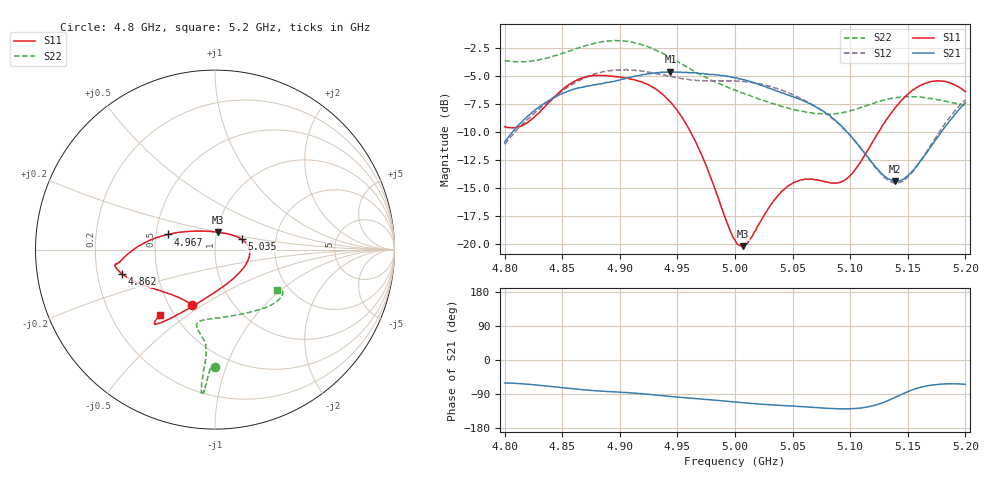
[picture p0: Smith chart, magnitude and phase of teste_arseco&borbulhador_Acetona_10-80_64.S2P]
! Network Analyzer HP8722D
! Hewlett-Packard
! Data name: Linha & Wilkinson
! Saver's name: Rodrigo Anjos
! Comments: Teste da utilização de aquisição
! continua pelo VNA HP8722D
! Time and date: 17/4/2025 14:53
!  Frequency  S11  S21  S12  S22
# HZ  S  MA R 50
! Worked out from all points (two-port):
!   401 points, 4.8 GHz to 5.2 GHz, reference 50 ohm
!   highest |S21| = -4.66 dB at 4.944 GHz (marker M1); lowest = -14.4 dB at 5.139 GHz (marker M2)
!   |S21| within 3 dB of the highest: 4.832 GHz to 5.068 GHz (236.1 MHz wide, 4.77 % of centre); 5.19778 GHz to end of sweep
!   lowest |S11| = -20.2 dB at 5.007 GHz (marker M3), VSWR 1.22, Z = 50.8 + j9.9 ohm
!   |S11| at or under -10 dB: 4.961 GHz to 5.125 GHz (163.3 MHz wide, 3.24 % of centre)
!   |S22| runs from -8.4 to -1.9 dB; largest |S21 - S12| = 0.88
!   S11 on the Smith chart (normalised r, x): 4.8 GHz: 0.65, -0.45; 4.862 GHz: 0.31, -0.12; 4.967 GHz: 0.58, +0.11; 5.035 GHz: 1.34, +0.16; 5.2 GHz: 0.42, -0.40
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4.8e9  0.3335 -112.9  0.2847 -60.7  0.2786 -174.9  0.6558 -89.9
4.819e9  0.3457 -132.8  0.3666 -63.7  0.3557 -173.2  0.6505 -91.4
4.862e9  0.5348 -165.3  0.4931 -76.7  0.5274 -176.4  0.7415 -93.6
4.867e9  0.5481 -167.2  0.499 -78.3  0.5419 -177.5  0.7557 -93.8
4.898e9  0.5555 -171.8  0.5355 -84.5  0.5945 176.1  0.8044 -95.0
4.915e9  0.5339 -172.8  0.5605 -88.2  0.5925 173.4  0.7823 -95.7
4.934e9  0.4785 -177.8  0.579 -93.4  0.5725 172.1  0.7179 -95.6
4.944e9  0.4292 177.6  0.5849 -96.2  0.5571 172.1  0.6773 -95.4
4.967e9  0.2773 162.3  0.576 -102.0  0.5349 174.1  0.5779 -95.0
5e9  0.1045 103.6  0.5488 -110.9  0.5331 176.4  0.4844 -99.0
5.007e9  0.09803 79.7  0.5403 -112.7  0.5296 176.3  0.4696 -100.6
5.035e9  0.159 21.4  0.4831 -119.2  0.4944 175.1  0.419 -103.4
5.05e9  0.1867 5.9  0.4538 -121.6  0.4626 174.2  0.3987 -99.7
5.067e9  0.1948 -12.3  0.4171 -124.6  0.4177 173.8  0.3839 -91.0
5.086e9  0.1871 -42.2  0.3591 -128.2  0.3575 173.7  0.3801 -76.7
5.097e9  0.1954 -65.0  0.316 -128.9  0.3157 174.6  0.3884 -67.7
5.134e9  0.3731 -115.7  0.1945 -105.6  0.1909 -158.4  0.4434 -43.0
5.139e9  0.4048 -118.8  0.1905 -98.6  0.1874 -150.6  0.4485 -40.7
5.151e9  0.4693 -123.9  0.2038 -82.2  0.2016 -131.8  0.4534 -36.3
5.17e9  0.529 -128.3  0.2712 -66.5  0.2766 -112.7  0.445 -31.8
5.184e9  0.5273 -129.7  0.3417 -62.9  0.3532 -107.2  0.431 -30.8
5.2e9  0.477 -130.1  0.4258 -64.0  0.4387 -106.1  0.4149 -33.1
